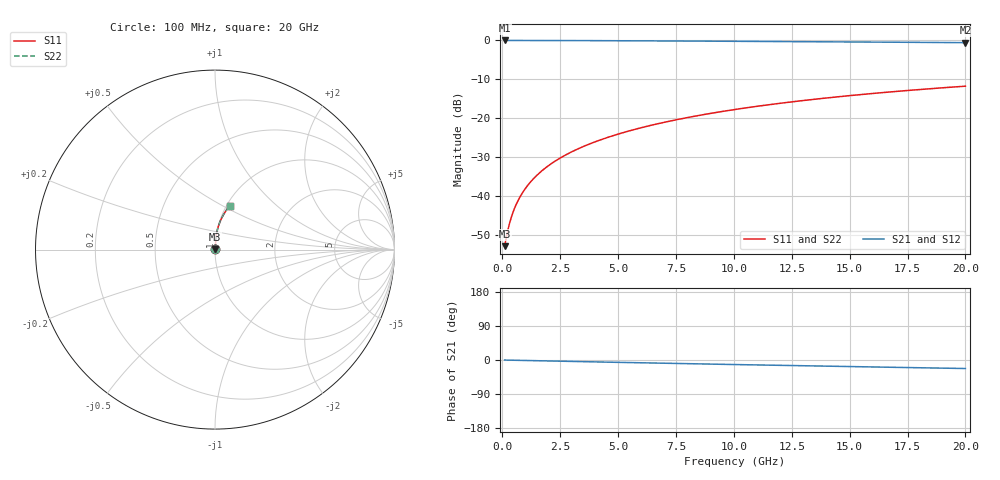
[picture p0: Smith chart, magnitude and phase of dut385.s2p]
! Touchstone file exported from HFSS 2024.1.0
!  File:  C:/UserFiles/LocalFiles/RDL_TSV_Batchsim/temp_RDL_bottom_385_1779614078.aedt
!  Generated:  05:18:01 PM May 24, 2026
!  Design:  RDL_bottom
!  Project:  temp_RDL_bottom_385_1779614078
!  Setup:  Setup1
!  Solution:  Sweep
! Variables:
!  dtsv = 10.80580581um
!  hbump = 3um
!  htsv = 80.89um
!  ldown = 266.97um
!  lrdl = 100um
!  p = 40
!  p1 = 50.47um
!  rhole = 1um
!  t = 450um
!  tdown = 3.08um
!  trdl = 3.915915916um
!  wdown = 18.53um
!  wrdl = 20um
# GHz S MA R 50.000000
! Terminal data exported
! Port[1] = RDL1_T1
! Port[2] = RDL1_T2
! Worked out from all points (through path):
!   200 points, 100 MHz to 20 GHz, reference 50 ohm
!   highest |S21| = -0.02 dB at 100 MHz (marker M1); lowest = -0.6 dB at 20 GHz (marker M2)
!   group delay of S21, straight-line fit = 3.1 ps
!   lowest |S11| = -52.8 dB at 100 MHz (marker M3), VSWR 1.00, Z = 50.2 + j0.132 ohm
!   |S11| at or under -10 dB: start of sweep to end of sweep
!   |S22| runs from -52.8 to -11.7 dB; largest |S21 - S12| = 3.3e-15
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0.1  0.002293 34.9  0.9981 -0.1  0.9981 -0.1  0.002293 34.9
! Gamma 0 0 0 0
! Port Impedance 50 0 50 0
0.2  0.00324 53.5  0.9981 -0.3  0.9981 -0.3  0.00324 53.5
0.3  0.004352 62.8  0.998 -0.4  0.998 -0.4  0.004352 62.8
0.4  0.00551 68.1  0.9979 -0.5  0.9979 -0.5  0.00551 68.1
0.5  0.006683 71.6  0.9978 -0.6  0.9978 -0.6  0.006683 71.6
0.6  0.007863 74.1  0.9977 -0.8  0.9977 -0.8  0.007863 74.1
0.8  0.01024 77.4  0.9976 -1.0  0.9976 -1.0  0.01024 77.4
1.1  0.01383 80.3  0.9973 -1.4  0.9973 -1.4  0.01383 80.3
1.5  0.01868 82.5  0.9969 -1.9  0.9969 -1.9  0.01868 82.5
1.8  0.02235 83.5  0.9966 -2.3  0.9966 -2.3  0.02235 83.5
2.1  0.02604 84.2  0.9962 -2.7  0.9962 -2.7  0.02604 84.2
2.7  0.03348 85.0  0.9953 -3.4  0.9953 -3.4  0.03348 85.0
3.5  0.04353 85.5  0.9937 -4.4  0.9937 -4.4  0.04353 85.5
4.2  0.05245 85.6  0.9921 -5.3  0.9921 -5.3  0.05245 85.6
5  0.06276 85.5  0.9901 -6.2  0.9901 -6.2  0.06276 85.5
5.9  0.07452 85.1  0.9875 -7.3  0.9875 -7.3  0.07452 85.1
6.8  0.08641 84.6  0.9847 -8.3  0.9847 -8.3  0.08641 84.6
8.4  0.1078 83.4  0.9795 -10.2  0.9795 -10.2  0.1078 83.4
10.1  0.1306 81.8  0.9735 -12.1  0.9735 -12.1  0.1306 81.8
13.4  0.1747 78.4  0.9614 -15.6  0.9614 -15.6  0.1747 78.4
16.7  0.2175 74.8  0.9487 -19.1  0.9487 -19.1  0.2175 74.8
20  0.2587 71.3  0.9352 -22.5  0.9352 -22.5  0.2587 71.3
